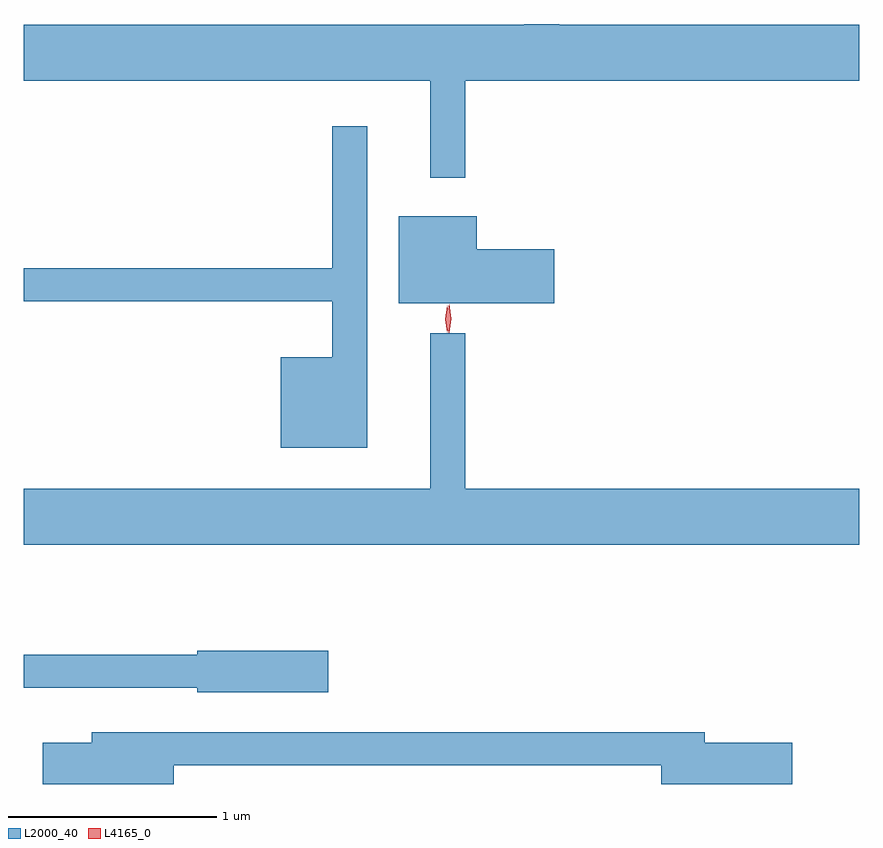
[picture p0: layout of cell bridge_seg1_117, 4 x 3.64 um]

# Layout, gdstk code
import gdstk
lib = gdstk.Library(unit=1e-6, precision=1e-09)
def P(c, l, *ps):  # polygons
    for p in ps: c.add(gdstk.Polygon(p, *l))
L2000_40 = (2000, 40)
L4165_0 = (4165, 0)

bridge_seg1_117 = lib.new_cell('bridge_seg1_117')
P(bridge_seg1_117, L2000_40, [(1397.589,877.376),(1399.475,877.376),(1399.475,877.644),(1398.039,877.644),(1398.039,877.648),(1397.871,877.648),(1397.871,877.644),(1395.475,877.644),(1395.475,877.376),(1397.421,877.376),(1397.421,876.913),(1397.589,876.913)],
  [(1397.119,877.158),(1396.951,877.158),(1396.951,876.479),(1395.475,876.479),(1395.475,876.321),(1396.951,876.321),(1396.951,876.054),(1396.706,876.054),(1396.706,875.621),(1397.119,875.621)],
  [(1398.014,876.569),(1397.644,876.569),(1397.644,876.729),(1397.271,876.729),(1397.271,876.311),(1398.014,876.311)],
  [(1399.475,875.424),(1397.589,875.424),(1397.589,876.168),(1397.421,876.168),(1397.421,875.424),(1395.475,875.424),(1395.475,875.156),(1399.475,875.156)],
  [(1396.934,874.649),(1396.306,874.649),(1396.306,874.629),(1395.475,874.629),(1395.475,874.471),(1396.306,874.471),(1396.306,874.451),(1396.934,874.451)],
  [(1396.194,874.101),(1398.526,874.101),(1398.526,874.011),(1399.154,874.011),(1399.154,874.209),(1398.734,874.209),(1398.734,874.259),(1395.801,874.259),(1395.801,874.209),(1395.566,874.209),(1395.566,874.011),(1396.194,874.011)])
P(bridge_seg1_117, L4165_0, [(1397.51,876.17),(1397.51,876.17),(1397.501,876.238),(1397.512,876.306),(1397.512,876.306),(1397.512,876.306),(1397.521,876.238),(1397.511,876.17)],
  [(1397.502,876.173),(1397.492,876.236),(1397.502,876.299),(1397.502,876.3),(1397.503,876.299),(1397.512,876.236),(1397.503,876.173),(1397.503,876.173)])

lib.write_gds('bridge_seg1_117.gds')
